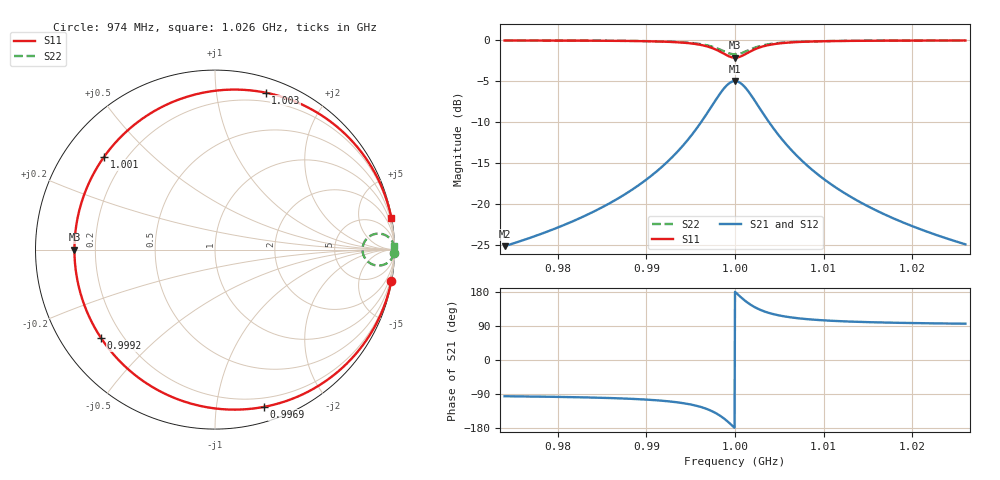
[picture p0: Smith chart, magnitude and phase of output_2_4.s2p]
! File generated for n1 = 2, n2 = 4
! b1 = 46.415888
! b2 = 4.641589
! Q0 = 10000.000000
! f0 = 1000000000.000000
! n = 1001
! rel_span = 10.000000
# Hz S RI R 50
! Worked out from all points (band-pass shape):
!   1001 points, 974 MHz to 1.026 GHz, reference 50 ohm
!   highest |S21| = -4.98 dB at 1 GHz (marker M1); lowest = -25.1 dB at 974 MHz (marker M2)
!   |S21| within 3 dB of the highest: 997.4 MHz to 1.003 GHz (5.193 MHz wide, 0.519 % of centre)
!   lowest |S11| = -2.1 dB at 1 GHz (marker M3), VSWR 8.23, Z = 6.08 + j0 ohm
!   |S11| at or under -10 dB: nowhere
!   |S22| runs from -1.7 to 0.0 dB; largest |S21 - S12| = 0
!   S11 on the Smith chart (normalised r, x): 974 MHz: 0, -11; 996.9 MHz: 0.12, -1.35; 999.2 MHz: 0.12, -0.34; 1.001 GHz: 0.12, +0.36; 1.003 GHz: 0.12, +1.37; 1.026 GHz: 0, +11
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9.739713e8  0.9828 -0.1743  -0.00544 -0.0551  -0.00544 -0.0551  0.9983 -0.0174
9.826649e8  0.9614 -0.2597  -0.0122 -0.0821  -0.0122 -0.0821  0.9961 -0.026
9.876103e8  0.9255 -0.3567  -0.0236 -0.1128  -0.0236 -0.1128  0.9926 -0.0357
9.913585e8  0.8529 -0.4907  -0.0465 -0.1552  -0.0465 -0.1552  0.9853 -0.0491
9.946901e8  0.656 -0.7036  -0.1088 -0.2225  -0.1088 -0.2225  0.9656 -0.0704
9.958875e8  0.4915 -0.8051  -0.1608 -0.2546  -0.1608 -0.2546  0.9491 -0.0805
9.968766e8  0.2705 -0.8768  -0.2307 -0.2773  -0.2307 -0.2773  0.9271 -0.0877
9.98178e8  -0.1961 -0.838  -0.3782 -0.265  -0.3782 -0.265  0.8804 -0.0838
9.986986e8  -0.4262 -0.7136  -0.451 -0.2257  -0.451 -0.2257  0.8574 -0.0714
9.992191e8  -0.6359 -0.491  -0.5173 -0.1553  -0.5173 -0.1553  0.8364 -0.0491
1e9  -0.7833 0  -0.5639 0  -0.5639 0  0.8217 0
1.000416e9  -0.7388 0.2781  -0.5498 0.088  -0.5498 0.088  0.8261 0.0278
1.000833e9  -0.6177 0.5175  -0.5116 0.1636  -0.5116 0.1636  0.8382 0.0517
1.001301e9  -0.427 0.713  -0.4512 0.2255  -0.4512 0.2255  0.8573 0.0713
1.001822e9  -0.1975 0.8375  -0.3787 0.2648  -0.3787 0.2648  0.8802 0.0838
1.002395e9  0.0331 0.8884  -0.3057 0.281  -0.3057 0.281  0.9033 0.0888
1.003176e9  0.282 0.8746  -0.227 0.2766  -0.227 0.2766  0.9282 0.0875
1.004165e9  0.4976 0.8022  -0.1589 0.2537  -0.1589 0.2537  0.9498 0.0802
1.005362e9  0.6584 0.7017  -0.108 0.2219  -0.108 0.2219  0.9658 0.0702
1.008694e9  0.8521 0.4918  -0.0468 0.1555  -0.0468 0.1555  0.9852 0.0492
1.017387e9  0.9603 0.2633  -0.0126 0.0832  -0.0126 0.0832  0.996 0.0263
1.026029e9  0.9819 0.1788  -0.00573 0.0565  -0.00573 0.0565  0.9982 0.0179
